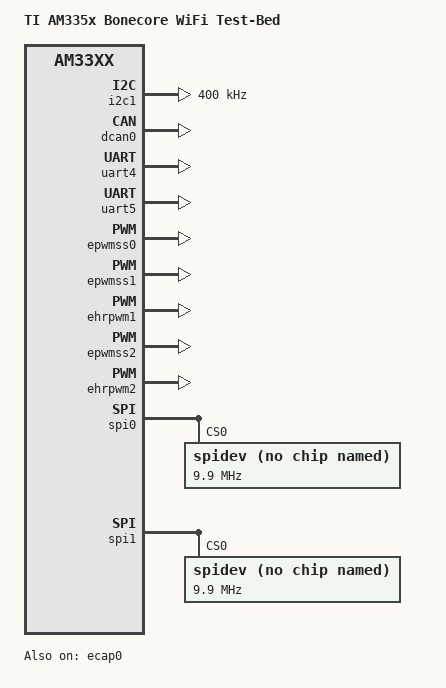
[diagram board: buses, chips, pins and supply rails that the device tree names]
/*
 * Copyright (C) Subinitial LLC
 *
 * This program is free software; you can redistribute it and/or modify
 * it under the terms of the GNU General Public License version 2 as
 * published by the Free Software Foundation.
 */
/dts-v1/;

#include "am33xx.dtsi"
#include "am335x-bone-common.dtsi"
#include "am335x-bonegreen-common.dtsi"
// #include "am335x-pruss-rproc.dtsi"
/* #include "am335x-bone-jtag.dtsi" */

#include "am335x-bonecore-common.dtsi"


&am33xx_pinmux {
  i2c1_pins: pinmux_i2c1_pins {
    pinctrl-single,pins = <
      BONE_P9_24 (PIN_INPUT_PULLUP | MUX_MODE3)
      BONE_P9_26 (PIN_INPUT_PULLUP | MUX_MODE3)
    >;
  };

  // bb_uart2_pins: pinmux_bb_uart2_pins {
  //   pinctrl-single,pins = <
  //     BONE_P9_21 (PIN_OUTPUT | MUX_MODE1)
  //     BONE_P9_22 (PIN_INPUT_PULLUP  | MUX_MODE1)
  //   >;
  // };

  bb_uart4_pins: pinmux_bb_uart4_pins {
    pinctrl-single,pins = <
      BONE_P9_11 (PIN_INPUT_PULLUP  | MUX_MODE6)
      BONE_P9_13 (PIN_OUTPUT | MUX_MODE6)
    >;
  };

  // bb_uart5_pins: pinmux_bb_uart5_pins {
  //   pinctrl-single,pins = <
  //     BONE_P8_37 (PIN_OUTPUT | MUX_MODE4)	// uart5_txd
  //     BONE_P8_38 (PIN_INPUT_PULLUP | MUX_MODE4)	// uart5_rxd
  //   >;
  // };

  // bb_can1_pins: pinmux_bb_can1_pins {
  //   pinctrl-single,pins = <
  //     BONE_P9_24 (PIN_INPUT_PULLUP  | MUX_MODE2)  // dcan1_rx
  //     BONE_P9_26 (PIN_OUTPUT_PULLDOWN  | MUX_MODE2)  // dcan1_tx
  //   >;
  // };

  bb_pwm1_pins: pinmux_bb_pwm1_pins {
    pinctrl-single,pins = <
      BONE_P9_14 (PIN_OUTPUT | MUX_MODE6)	/* ehrpwm1A  */
      BONE_P9_16 (PIN_OUTPUT | MUX_MODE6)	/* ehrpwm1B */
    >;
  };

  bb_pwm2_pins: pinmux_bb_pwm2_pins {
    pinctrl-single,pins = <
      BONE_P8_13 (PIN_OUTPUT | MUX_MODE4)	/* ehrpwm2B */
      BONE_P8_19 (PIN_OUTPUT | MUX_MODE4)	/* ehrpwm2A */
    >;
  };

  bb_ecap0_pins: pinmux_bb_ecap0_pins {
    pinctrl-single,pins = <
      BONE_P9_42A (PIN_INPUT_PULLDOWN | MUX_MODE0)	/* eCAP0/PWM */
      BONE_P9_42B (PIN_INPUT | MUX_MODE7)	/* spare-tied */
    >;
  };
    
  bb_spi0_pins: pinmux_bb_spi0_pins {
    pinctrl-single,pins = <
      BONE_P8_39 (PIN_OUTPUT_PULLUP | MUX_MODE7)  // spi0_cs6

      BONE_P8_41 (PIN_OUTPUT | MUX_MODE7)
      BONE_P8_42 (PIN_OUTPUT | MUX_MODE7)
      BONE_P8_43 (PIN_OUTPUT | MUX_MODE7)
      BONE_P8_44 (PIN_OUTPUT | MUX_MODE7)
      BONE_P8_45 (PIN_OUTPUT | MUX_MODE7)
      BONE_P8_46 (PIN_OUTPUT | MUX_MODE7)  // spi0_cs_1

      BONE_P9_18 (PIN_OUTPUT | MUX_MODE0)  // spi0_d1 MOSI
      BONE_P9_21 (PIN_INPUT | MUX_MODE0)  // spi0_d0 MISO
      BONE_P9_22 (PIN_INPUT | MUX_MODE0)  // spi0_sclk
    >;
  };
    
  bb_spi1_pins: pinmux_bb_spi1_pins {
    pinctrl-single,pins = <
      BONE_P9_25 (PIN_OUTPUT_PULLUP | MUX_MODE7)  // SPI1_CS_2
      BONE_P9_27 (PIN_OUTPUT_PULLUP | MUX_MODE7)  // SPI1_CS_1
      BONE_P9_28 (PIN_OUTPUT_PULLUP | MUX_MODE7)  // SPI1_CS_0
      BONE_P9_41A (PIN_INPUT | MUX_MODE7)  // p41 spare
      BONE_P9_41B (PIN_OUTPUT_PULLUP | MUX_MODE7)  // SPI1_CS_3

      BONE_P9_29 (PIN_INPUT_PULLUP  | MUX_MODE3)  // spi1_d0 MISO
      BONE_P9_30 (PIN_OUTPUT_PULLDOWN  | MUX_MODE3)  // spi1_d1 MOSI
      BONE_P9_31 (PIN_INPUT_PULLUP  | MUX_MODE3)  // spi1_sclk
    >;
  };

  bb_gpio_pins: pinmux_bb_gpio_pins {
    pinctrl-single,pins = <
      BONE_P8_26 (PIN_INPUT_PULLUP | MUX_MODE7)  /* network reset */ 
      BONE_P8_31 (PIN_OUTPUT_PULLUP | MUX_MODE7)	 /* nEXT Power Enable GPIO */ 
      BONE_P8_32 (PIN_OUTPUT_PULLDOWN | MUX_MODE7)  /* core_capprechargeA */ 

      BONE_P9_12 (PIN_OUTPUT_PULLUP | MUX_MODE7)  /* core_phyresetcmd */
      BONE_P9_15 (PIN_OUTPUT_PULLUP | MUX_MODE7)  /* i2c2_en */ 

      BONE_P8_07 (PIN_OUTPUT | MUX_MODE2)  // MCU_CLK (6MHz)
      BONE_P8_08 (PIN_INPUT | MUX_MODE2)   // FANTACH1
      BONE_P8_09 (PIN_INPUT | MUX_MODE2)   // FANTACH2
      BONE_P8_10 (PIN_INPUT | MUX_MODE2)   // FANTACH3

      BONE_P8_11 (PIN_OUTPUT | MUX_MODE7)
      BONE_P8_12 (PIN_INPUT | MUX_MODE7)
      
      BONE_P8_14 (PIN_OUTPUT | MUX_MODE7)
      BONE_P8_15 (PIN_INPUT_PULLUP | MUX_MODE7)
      BONE_P8_16 (PIN_INPUT | MUX_MODE7)
      BONE_P8_17 (PIN_INPUT | MUX_MODE7)
      BONE_P8_18 (PIN_INPUT | MUX_MODE7)

      BONE_P8_27 (PIN_OUTPUT | MUX_MODE7)
      BONE_P8_28 (PIN_INPUT | MUX_MODE7)
      BONE_P8_29 (PIN_INPUT | MUX_MODE7)
      BONE_P8_30 (PIN_INPUT | MUX_MODE7)
      
      BONE_P8_33 (PIN_INPUT | MUX_MODE7)
      BONE_P8_34 (PIN_INPUT | MUX_MODE7)
      BONE_P8_35 (PIN_INPUT | MUX_MODE7)
      BONE_P8_36 (PIN_INPUT | MUX_MODE7)
      BONE_P8_37 (PIN_INPUT | MUX_MODE7)
      BONE_P8_38 (PIN_INPUT | MUX_MODE7)

      BONE_P8_40 (PIN_INPUT | MUX_MODE7)
      
      BONE_P9_17 (PIN_OUTPUT | MUX_MODE7)  // SIRIP_PPS

      BONE_P9_19 (PIN_INPUT | MUX_MODE7)  // SIRIP_SPARE1
      BONE_P9_20 (PIN_INPUT | MUX_MODE7)  // SIRIP_SPARE2

      BONE_P9_23 (PIN_OUTPUT | MUX_MODE7)  // IBBT_/RE

      
      BONE_P9_23 (PIN_INPUT | MUX_MODE7)
      BONE_P9_25 (PIN_INPUT | MUX_MODE7)
      BONE_P9_27 (PIN_INPUT | MUX_MODE7)
      BONE_P9_41A (PIN_INPUT | MUX_MODE7)
      BONE_P9_41B (PIN_INPUT | MUX_MODE7)
    >;
  };
};

&capeuniversal {
  pinctrl-0 = <&bb_gpio_pins>;

  P8_11 { gpio = <&gpio1 13 0>; output; init-high; dir-changeable; };  // ADC24_/SYNCRESET
  P8_12 { gpio = <&gpio1 12 0>; input; dir-changeable; };              // SIRIP_P8_p12_SPARE
  
  P8_14 { gpio = <&gpio0 26 0>; output; init-low; dir-changeable; };   // IBBT_DE
  P8_15 { gpio = <&gpio1 15 0>; input; dir-changeable; };              // PRIMARY_ADC24_/DRDY
  P8_16 { gpio = <&gpio1 14 0>; input; dir-changeable; };              // SIRIP_P8_p16_SPARE
  P8_17 { gpio = <&gpio0 27 0>; input; dir-changeable; };              // LXI_RED / SIRIP_P8_p17_SPARE
  P8_18 { gpio = <&gpio2  1 0>; input; dir-changeable; };              // LXI_GREEN / SIRIP_P8_p18_SPARE

  P8_27 { gpio = <&gpio2 22 0>; output; init-low; dir-changeable; };  // /BBG_TRIGGER_OUT
  P8_28 { gpio = <&gpio2 24 0>; input; dir-changeable; };  // IOX_INTERRUPT_INT0
  P8_29 { gpio = <&gpio2 23 0>; input; dir-changeable; };  // IOX_INTERRUPT_INT1
  P8_30 { gpio = <&gpio2 25 0>; input; dir-changeable; };  // SPARE
  
  P8_33 { gpio = <&gpio0 9  0>; input; dir-changeable; };  // SPARE
  P8_34 { gpio = <&gpio2 17 0>; input; dir-changeable; };  // nTrigger(input)
  P8_35 { gpio = <&gpio0 8  0>; input; dir-changeable; };  // SPARE
  P8_36 { gpio = <&gpio2 16 0>; input; dir-changeable; };  // PRU1 SamplerateIn
  P8_37 { gpio = <&gpio2 14 0>; input; dir-changeable; };  // SPARE
  P8_38 { gpio = <&gpio2 15 0>; input; dir-changeable; };  // IOX_OE_INT1 / SPARE
  P8_39 { gpio = <&gpio2 12 0>; output; init-high; dir-changeable; };  // SPI0_CS_6
  P8_40 { gpio = <&gpio0 13 0>; input; dir-changeable; };  // SPARE
  P8_41 { gpio = <&gpio2 10 0>; output; init-high; dir-changeable; };  // SPI0_CS_4
  P8_42 { gpio = <&gpio2 11 0>; output; init-high; dir-changeable; };
  P8_43 { gpio = <&gpio2  8 0>; output; init-high; dir-changeable; };
  P8_44 { gpio = <&gpio2  9 0>; output; init-high; dir-changeable; };
  P8_45 { gpio = <&gpio2  6 0>; output; init-high; dir-changeable; };
  P8_46 { gpio = <&gpio2  7 0>; output; init-high; dir-changeable; };  // SPI0_CS_1

  P9_17 { gpio = <&gpio0  5 0>; output; init-low; dir-changeable; };  // SIRIP_PPS
  
  P9_19 { gpio = <&gpio0 13 0>; input; dir-changeable; };  // SIRIP_SPARE1
  P9_20 { gpio = <&gpio0 12 0>; input; dir-changeable; };  // SIRIP_SPARE0

  P9_23 { gpio = <&gpio1 17 0>; output; init-high; dir-changeable; };  // IBBT_/RE

  P9_25 { gpio = <&gpio3 21 0>; output; init-high; dir-changeable; };  // SPI1_CS_2, (Devboard ADC24_nSYNCRESET)
  P9_27 { gpio = <&gpio3 19 0>; output; init-high; dir-changeable; };  // SPI1_CS_1 (Devboard adc24 nDRDY)
  P9_28 { gpio = <&gpio3 17 0>; output; init-high; dir-changeable; };  // SPI1_CS_0
  P9_41A{ gpio = <&gpio0 20 0>; input; dir-changeable; };              // tied to SPI1_CS_3
  P9_41B{ gpio = <&gpio3 20 0>; output; init-high; dir-changeable; };  // SPI1_CS_3
  P9_42B{ gpio = <&gpio3 18 0>; input; dir-changeable; };              // tied to ECAP pwmchip0

};

&i2c1 {
	status = "okay";
	pinctrl-names = "default";
	pinctrl-0 = <&i2c1_pins>;
	clock-frequency = <400000>;
};

&dcan0 {
  status = "okay";
  pinctrl-names = "default";
	// pinctrl-0 = <&bb_can0_pins>;
};

// &dcan1 {
//   status = "okay";
//   pinctrl-names = "default";
// 	pinctrl-0 = <&bb_can1_pins>;
// };

// &uart2 {
//   status = "okay";
//   pinctrl-names = "default";
//   // pinctrl-0 = <&bb_uart2_pins>;
// };

&uart4 {
  status = "okay";
  pinctrl-names = "default";
  pinctrl-0 = <&bb_uart4_pins>;
};

&uart5 {
  status = "okay";
  pinctrl-names = "default";
  // pinctrl-0 = <&bb_uart5_pins>;
};

&epwmss0 { 
  status = "okay";
};

&ecap0 {
  status = "okay";
  pinctrl-names = "default";
  // pinctrl-0 = <&bb_ecap0_pins>;
};

&epwmss1 {
  status = "okay";
};

&ehrpwm1 {
  status = "okay";
  pinctrl-names = "default";
  pinctrl-0 = <&bb_pwm1_pins>;
};

&epwmss2 {
  status = "okay";
};

&ehrpwm2 {
  status = "okay";
  pinctrl-names = "default";
  pinctrl-0 = <&bb_pwm2_pins>;
};

&spi0 {
  status = "okay";
  pinctrl-names = "default";
  pinctrl-0 = <&bb_spi0_pins>;

  spidev@0 {
    compatible = "linux,spidev";
    spi-max-frequency = <9900000>;
    reg = <0>;
    // spi-cpha;
  };
};

&spi1 {
  status = "okay";
  pinctrl-names = "default";
  pinctrl-0 = <&bb_spi1_pins>;

  spidev@0 {
    compatible = "linux,spidev";
    spi-max-frequency = <9900000>;
    reg = <0>;
    // spi-cpha;
  };
};

/ {
	model = "TI AM335x Bonecore WiFi Test-Bed";
	compatible = "ti,am335x-bone-green", "ti,am335x-bone-black", "ti,am335x-bone", "ti,am33xx";
};
